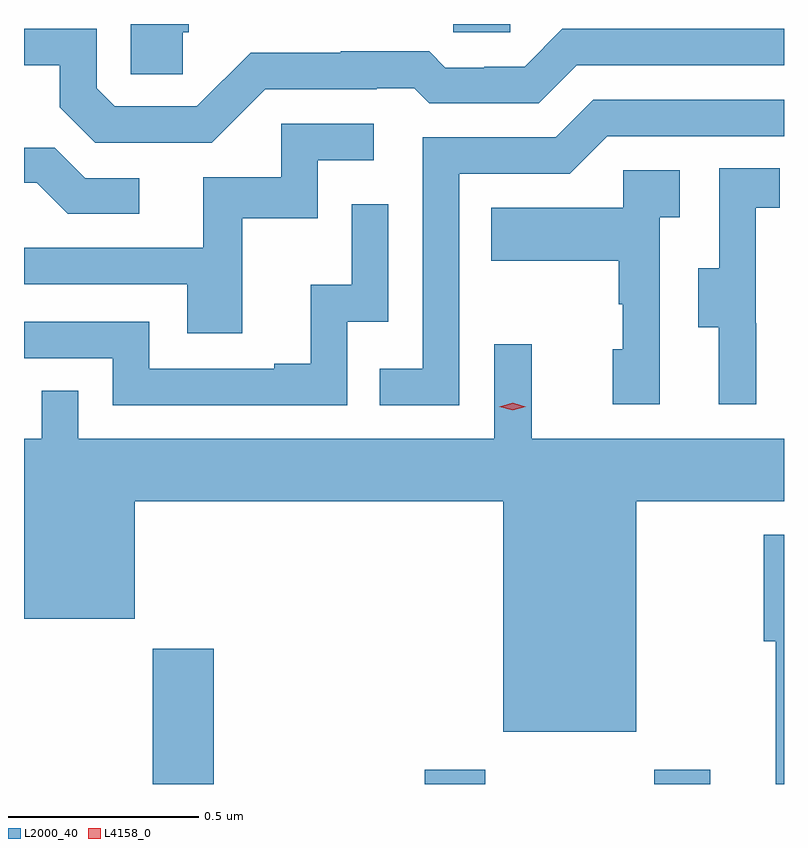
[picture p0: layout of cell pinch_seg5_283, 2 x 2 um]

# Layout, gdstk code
import gdstk
lib = gdstk.Library(unit=1e-6, precision=1e-09)
def R(c, l, rs):  # rectangles x0, y0, x1, y1
    for r in rs: c.add(gdstk.rectangle(r[:2], r[2:], *l))
def P(c, l, *ps):  # polygons
    for p in ps: c.add(gdstk.Polygon(p, *l))
L2000_40 = (2000, 40)
L4158_0 = (4158, 0)

pinch_seg5_283 = lib.new_cell('pinch_seg5_283')
R(pinch_seg5_283, L2000_40, [(909.682,901.304,909.842,901.66), (910.397,901.304,910.557,901.342), (911.002,901.304,911.149,901.342), (910.473,903.282,910.623,903.304)])
P(pinch_seg5_283, L2000_40, [(909.761,903.282),(909.776,903.282),(909.776,903.304),(909.624,903.304),(909.624,903.172),(909.761,903.172)],
  [(909.978,903.132),(910.271,903.132),(910.271,903.135),(910.37,903.135),(910.409,903.096),(910.698,903.096),(910.797,903.195),(911.343,903.195),(911.343,903.291),(910.76,903.291),(910.661,903.192),(910.554,903.192),(910.554,903.189),(910.451,903.189),(910.409,903.232),(910.176,903.232),(910.176,903.229),(909.94,903.229),(909.798,903.087),(909.582,903.087),(909.534,903.135),(909.534,903.291),(909.343,903.291),(909.343,903.195),(909.437,903.195),(909.437,903.085),(909.531,902.991),(909.837,902.991)],
  [(910.488,902.91),(910.779,902.91),(910.878,903.009),(911.343,903.009),(911.343,903.105),(910.841,903.105),(910.742,903.006),(910.392,903.006),(910.392,902.397),(910.279,902.397),(910.279,902.301),(910.488,902.301)],
  [(909.917,902.793),(910.116,902.793),(910.116,902.946),(910.264,902.946),(910.264,903.042),(910.02,903.042),(910.02,902.901),(909.815,902.901),(909.815,902.715),(909.343,902.715),(909.343,902.619),(909.773,902.619),(909.773,902.49),(909.917,902.49)],
  [(909.646,902.898),(909.504,902.898),(909.424,902.978),(909.343,902.978),(909.343,902.886),(909.377,902.886),(909.458,902.805),(909.646,902.805)],
  [(911.27,902.517),(911.268,902.517),(911.268,902.821),(911.332,902.821),(911.332,902.924),(911.172,902.924),(911.172,902.661),(911.117,902.661),(911.117,902.506),(911.171,902.506),(911.171,902.304),(911.27,902.304)],
  [(911.016,902.795),(911.068,902.795),(911.068,902.919),(910.92,902.919),(910.92,902.821),(910.573,902.821),(910.573,902.681),(910.908,902.681),(910.908,902.567),(910.918,902.567),(910.918,902.448),(910.892,902.448),(910.892,902.304),(911.016,902.304)],
  [(910.194,902.52),(910.302,902.52),(910.302,902.83),(910.206,902.83),(910.206,902.618),(910.097,902.618),(910.097,902.41),(910.001,902.41),(910.001,902.397),(909.672,902.397),(909.672,902.52),(909.343,902.52),(909.343,902.424),(909.576,902.424),(909.576,902.301),(910.194,902.301)],
  [(910.954,902.048),(911.343,902.048),(911.343,902.212),(910.679,902.212),(910.679,902.461),(910.581,902.461),(910.581,902.212),(909.486,902.212),(909.486,902.339),(909.39,902.339),(909.39,902.212),(909.343,902.212),(909.343,901.739),(909.634,901.739),(909.634,902.048),(910.604,902.048),(910.604,901.442),(910.954,901.442)],
  [(911.343,901.96),(911.29,901.96),(911.29,901.68),(911.321,901.68),(911.321,901.304),(911.343,901.304)])
P(pinch_seg5_283, L4158_0, [(910.629,902.287),(910.594,902.297),(910.593,902.297),(910.594,902.297),(910.629,902.307),(910.664,902.297),(910.664,902.297),(910.664,902.297)])

lib.write_gds('pinch_seg5_283.gds')
